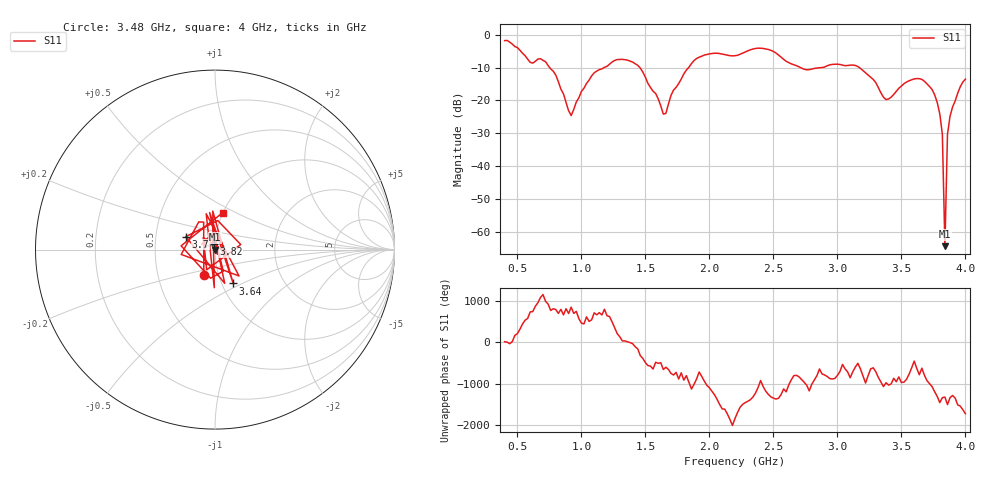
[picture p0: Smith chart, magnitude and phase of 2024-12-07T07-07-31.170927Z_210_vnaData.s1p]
!Created with skrf (http://scikit-rf.org).
# Hz S RI R 50.0
!freq ReS11 ImS11
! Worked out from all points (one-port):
!   181 points, 400 MHz to 4 GHz, reference 50 ohm
!   lowest |S11| = -64.3 dB at 3.84 GHz (marker M1), VSWR 1.00, Z = 50 + j0.0533 ohm
!   |S11| at or under -10 dB: 751.9 MHz to 1.177 GHz (425.5 MHz wide, 44.1 % of centre); 1.456 GHz to 1.838 GHz (382 MHz wide, 23.2 % of centre); 3.171 GHz to end of sweep (the widest 3 of 4)
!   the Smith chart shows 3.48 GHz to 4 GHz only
!   S11 on the Smith chart (normalised r, x): 3.48 GHz: 0.85, -0.24; 3.64 GHz: 1.13, -0.45; 3.7 GHz: 0.71, +0.11; 3.82 GHz: 0.98, +0.06; 4 GHz: 1.00, +0.43
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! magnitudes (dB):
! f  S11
! 400 MHz  -1.8
! 600 MHz  -8.4
! 720 MHz  -8.2
! 860 MHz  -18.0
! 920 MHz  -24.6
! 1.1 GHz  -11.6
! 1.3 GHz  -7.5
! 1.46 GHz  -10.2
! 1.58 GHz  -17.9
! 1.64 GHz  -24.2
! 1.76 GHz  -14.9
! 1.92 GHz  -6.9
! 2.2 GHz  -6.4
! 2.42 GHz  -4.2
! 2.66 GHz  -9.2
! 3.1 GHz  -9.3
! 3.28 GHz  -13.6
! 3.38 GHz  -19.7
! 3.48 GHz  -16.3
! 3.56 GHz  -14.0
! 3.64 GHz  -13.4
! 3.7 GHz  -15.0
! 3.78 GHz  -20.6
! 3.82 GHz  -30.3
! 3.84 GHz  -64.3
! 3.86 GHz  -30.4
! 3.9 GHz  -22.0
! 4 GHz  -13.5
